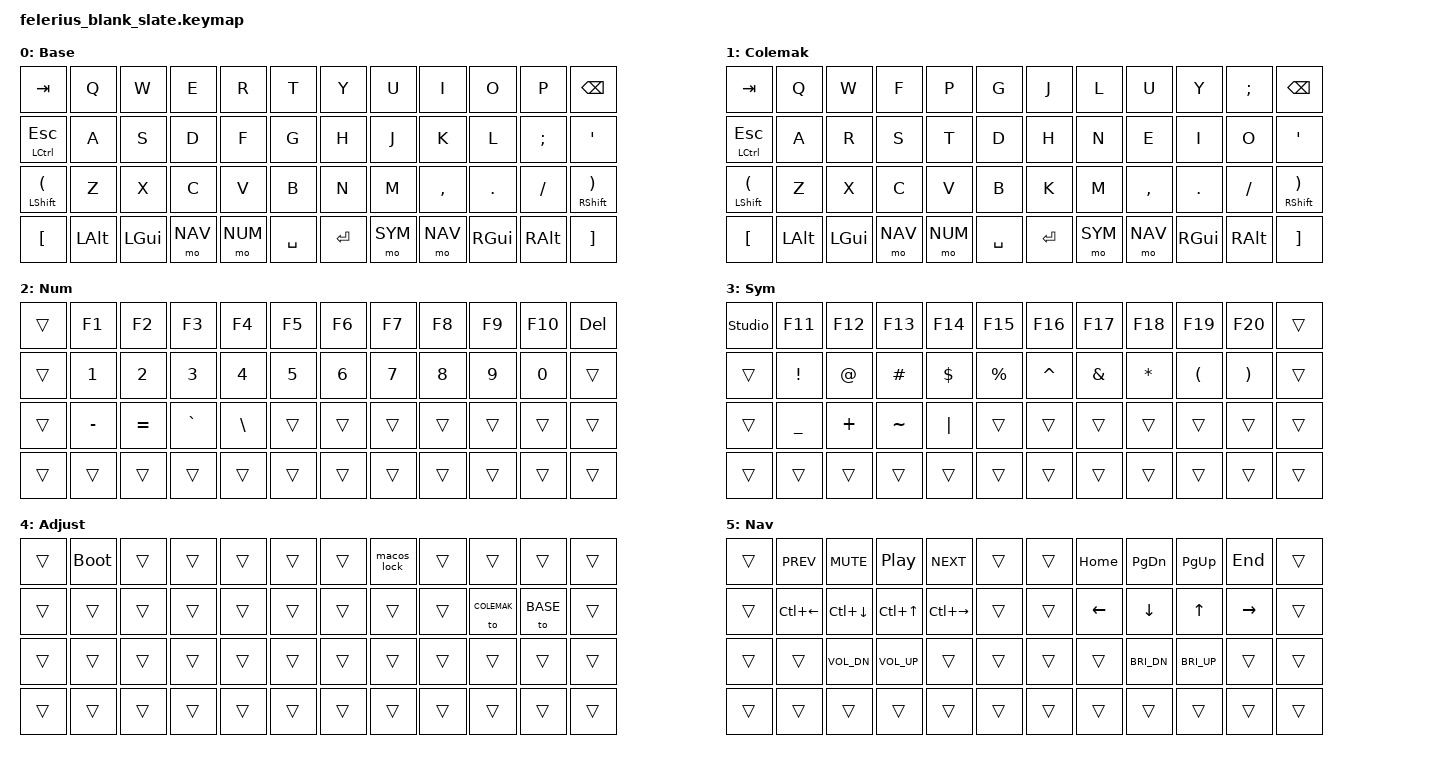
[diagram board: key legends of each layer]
/*
 * Copyright (c) 2024 The ZMK Contributors
 *
 * SPDX-License-Identifier: MIT
 */

#include <behaviors.dtsi>
#include <dt-bindings/zmk/keys.h>
#include <dt-bindings/zmk/bt.h>
#include <dt-bindings/zmk/outputs.h>

#define BASE 0
#define COLEMAK 1
#define NUM 2
#define SYM 3
#define ADJ 4
#define NAV 5

// Using mod-taps on thumbs or sides
&mt {
    tapping-term-ms = <200>;
    quick-tap-ms = <200>;
};

&lt {
    tapping-term-ms = <200>;
    quick-tap-ms = <200>;
};

/ {
    chosen {
        zmk,physical-layout = &layout_ortho_4x12_all1u;
    };

    macros {
        macos_lock: macos_lock {
            compatible = "zmk,behavior-macro";
            #binding-cells = <0>;
            bindings = <&kp LC(LG(Q))>;
        };
    };

    behaviors {
        // Mod-Tap behavior for Control/Escape
        mt_ctrl_esc: mt_ctrl_esc {
            compatible = "zmk,behavior-hold-tap";
            label = "MT_CTRL_ESC";
            #binding-cells = <2>;
            tapping-term-ms = <200>;
            quick-tap-ms = <200>;
            flavor = "tap-preferred";
            bindings = <&kp>, <&kp>;
        };
    };

    conditional_layers {
        compatible = "zmk,conditional-layers";
        tri_layer {
            if-layers = <NUM SYM>;
            then-layer = <ADJ>;
        };
    };

    keymap {
        compatible = "zmk,keymap";

        base_layer {
            label = "Base";
            bindings = <
                &kp TAB       &kp Q      &kp W      &kp E       &kp R          &kp T          &kp Y          &kp U          &kp I       &kp O      &kp P         &kp BKSP
                &mt LCTRL ESC &kp A      &kp S      &kp D       &kp F          &kp G          &kp H          &kp J          &kp K       &kp L      &kp SEMI      &kp QUOT
                &mt LSHIFT LPAR &kp Z    &kp X      &kp C       &kp V          &kp B          &kp N          &kp M          &kp COMMA   &kp DOT    &kp FSLH      &mt RSHIFT RPAR
                &kp LBKT      &kp LALT   &kp LGUI   &mo NAV     &mo NUM        &kp SPACE      &kp RET        &mo SYM        &mo NAV     &kp RGUI   &kp RALT      &kp RBKT
            >;
        };

        colemak_layer {
            label = "Colemak";
            bindings = <
                &kp TAB       &kp Q      &kp W      &kp F       &kp P          &kp G          &kp J          &kp L          &kp U       &kp Y      &kp SEMI      &kp BKSP
                &mt LCTRL ESC &kp A      &kp R      &kp S       &kp T          &kp D          &kp H          &kp N          &kp E       &kp I      &kp O         &kp QUOT
                &mt LSHIFT LPAR &kp Z    &kp X      &kp C       &kp V          &kp B          &kp K          &kp M          &kp COMMA   &kp DOT    &kp FSLH      &mt RSHIFT RPAR
                &kp LBKT      &kp LALT   &kp LGUI   &mo NAV     &mo NUM        &kp SPACE      &kp RET        &mo SYM        &mo NAV     &kp RGUI   &kp RALT      &kp RBKT
            >;
        };

        num_layer {
            label = "Num";
            bindings = <
                &trans     &kp F1     &kp F2     &kp F3     &kp F4     &kp F5     &kp F6     &kp F7     &kp F8     &kp F9     &kp F10    &kp DEL
                &trans     &kp N1     &kp N2     &kp N3     &kp N4     &kp N5     &kp N6     &kp N7     &kp N8     &kp N9     &kp N0     &trans
                &trans     &kp MINUS  &kp EQUAL  &kp GRAVE  &kp BSLH   &trans     &trans     &trans     &trans     &trans     &trans     &trans
                &trans     &trans     &trans     &trans     &trans     &trans     &trans     &trans     &trans     &trans     &trans     &trans
            >;
        };

        sym_layer {
            label = "Sym";
            bindings = <
                &studio_unlock  &kp F11    &kp F12    &kp F13    &kp F14    &kp F15    &kp F16    &kp F17    &kp F18    &kp F19    &kp F20    &trans
                &trans          &kp EXCL   &kp AT     &kp HASH   &kp DLLR   &kp PRCNT  &kp CARET  &kp AMPS   &kp STAR   &kp LPAR   &kp RPAR   &trans
                &trans          &kp UNDER  &kp PLUS   &kp TILDE  &kp PIPE   &trans     &trans     &trans     &trans     &trans     &trans     &trans
                &trans          &trans     &trans     &trans     &trans     &trans     &trans     &trans     &trans     &trans     &trans     &trans
            >;
        };

        adj_layer {
            label = "Adjust";
            bindings = <
                &trans     &bootloader &trans     &trans      &trans         &trans         &trans         &macos_lock    &trans      &trans        &trans        &trans
                &trans     &trans     &trans     &trans      &trans         &trans         &trans         &trans         &trans      &to COLEMAK   &to BASE      &trans
                &trans     &trans     &trans     &trans      &trans         &trans         &trans         &trans         &trans      &trans        &trans        &trans
                &trans     &trans     &trans     &trans      &trans         &trans         &trans         &trans         &trans      &trans        &trans        &trans
            >;
        };

        nav_layer {
            label = "Nav";
            bindings = <
                &trans     &kp C_PREV   &kp C_MUTE &kp C_PP    &kp C_NEXT    &trans         &trans         &kp HOME     &kp PG_DN  &kp PG_UP  &kp END      &trans
                &trans     &kp LC(LEFT) &kp LC(DOWN) &kp LC(UP) &kp LC(RIGHT) &trans         &trans         &kp LEFT     &kp DOWN   &kp UP     &kp RIGHT    &trans
                &trans     &trans       &kp C_VOL_DN &kp C_VOL_UP &trans     &trans         &trans         &trans       &kp C_BRI_DN &kp C_BRI_UP &trans     &trans
                &trans     &trans       &trans     &trans      &trans         &trans         &trans         &trans       &trans     &trans     &trans        &trans
            >;
        };
    };
};
